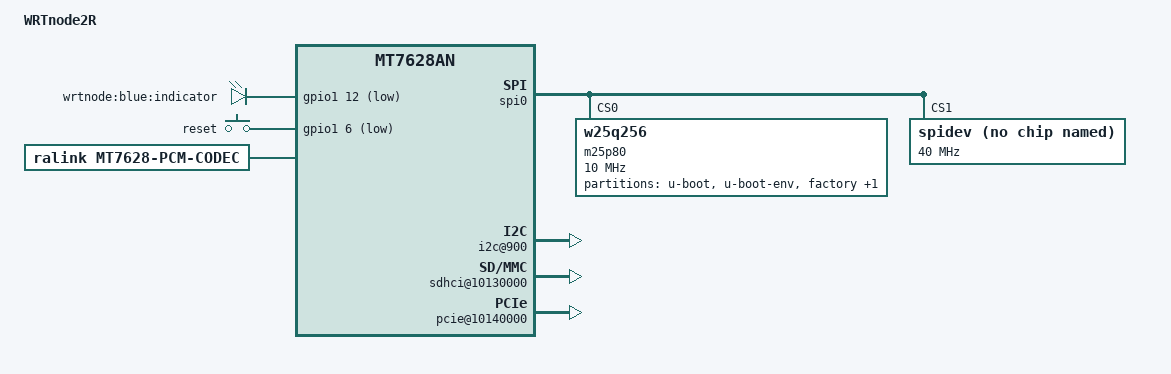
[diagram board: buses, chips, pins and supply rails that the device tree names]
/dts-v1/;

/include/ "mt7628an.dtsi"

/ {
	compatible = "mediatek,wrtnode2r", "mediatek,mt7628an-soc";
	model = "WRTnode2R";

	chosen {
		bootargs = "console=ttyS0,57600";
	};

	aliases {
		spi0 = &spi0;
	};

	pinctrl {
		state_default: pinctrl0 {
			gpio {
				ralink,group = "gpio", "wled_an";
				ralink,function = "gpio";
			};
			
			i2s {
				ralink,group = "i2s";
				ralink,function = "pcm";
			};
			/*
			spi {
                                ralink,group = "spi";
                                ralink,function = "spi";
                        };
			*/
			spi_cs1 {
                                ralink,group = "spi cs1";
                                ralink,function = "spi cs1";
                        };
			
		};
	};

	palmbus@10000000 {
		spi0: spi@b00 {
			status = "okay";

			m25p80@0 {
				#address-cells = <1>;
				#size-cells = <1>;
				compatible = "w25q256";
				reg = <0 0>;
				linux,modalias = "m25p80", "w25q256";
				spi-max-frequency = <10000000>;
				m25p,chunked-io = <32>;

				partition@0 {
					label = "u-boot";
					reg = <0x0 0x30000>;
					read-only;
				};

				partition@30000 {
					label = "u-boot-env";
					reg = <0x30000 0x10000>;
					read-only;
				};

				factory: partition@40000 {
					label = "factory";
					reg = <0x40000 0x10000>;
					read-only;
				};

				partition@50000 {
					label = "firmware";
					reg = <0x50000 0x1fb0000>;
				};
			};


			spidev@1 {
				#address-cells = <1>;
				#size-cells = <1>;
				/* compatible = "spidev"; */
				compatible = "rohm,dh2228fv";
				reg = <1 0>;
				spi-max-frequency = <40000000>;
			};
		};
		i2c@900 {
			status = "okay";
		};

		/*
		uart1@d00 {
			status = "okay";
			
		};
		*/

		pcm@2000 {
            		status = "okay";
        	};
        	gdma@2800 {
            		status = "okay";
        	};
		
	};

	ethernet@10100000 {
		mtd-mac-address = <&factory 0x4>;
		ralink,port-map = "llllw";
	};

	sdhci@10130000 {
		status = "okay";
	};

	pcie@10140000 {
		status = "okay";
	};

	gpio-leds {
		compatible = "gpio-leds";
		indicator {
			label = "wrtnode:blue:indicator";
			gpios = <&gpio1 12 1>;
		};
	}; 


	gpio-keys-polled {
		compatible = "gpio-keys-polled";
		#address-cells = <1>;
		#size-cells = <0>;
		poll-interval = <20>;
		reset {
			label = "reset";
			gpios = <&gpio1 6 1>;
			linux,code = <0x198>;
		};
	};
	codec: mt7628-pcm-codec {
		
                compatible = "ralink,mt7628-pcm-codec";

        };
	
        sound: mt7628-pcm-machine {
	 	
                compatible = "ralink,mt7628-pcm-machine";
		
                model = "mt7628-pcm-machine";
                cpu-dai = <&pcm>;
                codec-dai = <&codec>;
		/*

		compatible = "mediatek,mt7620-audio-wm8960";
		i2s-controller = <&i2s>;
		audio-codec = <&wm8960>;
		model = "mt7620-wm8960";
		audio-routing = 
			"Headphone Jack",       "HP_L",
			"Headphone Jack",       "HP_R",
			"LINPUT1",              "Line In";
		*/
        };
};

